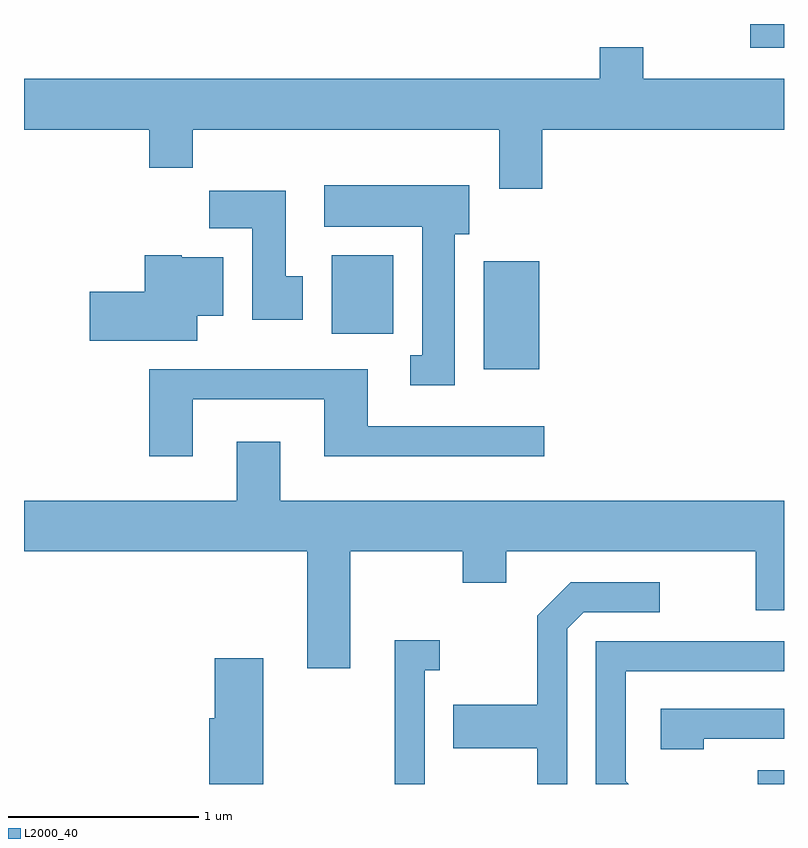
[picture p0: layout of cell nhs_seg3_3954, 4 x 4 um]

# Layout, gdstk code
import gdstk
lib = gdstk.Library(unit=1e-6, precision=1e-09)
def R(c, l, rs):  # rectangles x0, y0, x1, y1
    for r in rs: c.add(gdstk.rectangle(r[:2], r[2:], *l))
def P(c, l, *ps):  # polygons
    for p in ps: c.add(gdstk.Polygon(p, *l))
L2000_40 = (2000, 40)

nhs_seg3_3954 = lib.new_cell('nhs_seg3_3954')
R(nhs_seg3_3954, L2000_40, [(305.473,1135.892,305.611,1135.964), (304.031,1138.076,304.324,1138.644), (303.231,1138.261,303.554,1138.674), (305.433,1139.766,305.611,1139.892)])
P(nhs_seg3_3954, L2000_40, [(304.339,1139.336),(305.611,1139.336),(305.611,1139.604),(304.869,1139.604),(304.869,1139.769),(304.641,1139.769),(304.641,1139.604),(301.611,1139.604),(301.611,1139.336),(302.271,1139.336),(302.271,1139.136),(302.499,1139.136),(302.499,1139.336),(304.111,1139.336),(304.111,1139.026),(304.339,1139.026)],
  [(303.879,1138.786),(303.954,1138.786),(303.954,1139.044),(303.191,1139.044),(303.191,1138.826),(303.706,1138.826),(303.706,1138.149),(303.643,1138.149),(303.643,1137.991),(303.879,1137.991)],
  [(303.079,1138.564),(302.989,1138.564),(302.989,1139.014),(302.586,1139.014),(302.586,1138.816),(302.811,1138.816),(302.811,1138.336),(303.079,1138.336)],
  [(302.524,1138.356),(302.659,1138.356),(302.659,1138.664),(302.44,1138.664),(302.44,1138.674),(302.246,1138.674),(302.246,1138.484),(301.956,1138.484),(301.956,1138.226),(302.524,1138.226)],
  [(302.499,1137.916),(303.191,1137.916),(303.191,1137.616),(304.348,1137.616),(304.348,1137.774),(303.419,1137.774),(303.419,1138.074),(302.271,1138.074),(302.271,1137.616),(302.499,1137.616)],
  [(303.329,1137.116),(303.921,1137.116),(303.921,1136.951),(304.149,1136.951),(304.149,1137.116),(305.461,1137.116),(305.461,1136.806),(305.611,1136.806),(305.611,1137.384),(302.959,1137.384),(302.959,1137.694),(302.731,1137.694),(302.731,1137.384),(301.611,1137.384),(301.611,1137.116),(303.101,1137.116),(303.101,1136.501),(303.329,1136.501)],
  [(304.469,1136.709),(304.557,1136.796),(304.958,1136.796),(304.958,1136.954),(304.489,1136.954),(304.311,1136.777),(304.311,1136.309),(303.871,1136.309),(303.871,1136.081),(304.311,1136.081),(304.311,1135.892),(304.469,1135.892)],
  [(303.719,1136.491),(303.798,1136.491),(303.798,1136.649),(303.561,1136.649),(303.561,1135.892),(303.719,1135.892)],
  [(304.779,1135.907),(304.779,1136.486),(305.611,1136.486),(305.611,1136.644),(304.621,1136.644),(304.621,1135.892),(304.794,1135.892)],
  [(302.869,1136.554),(302.616,1136.554),(302.616,1136.239),(302.586,1136.239),(302.586,1135.892),(302.869,1135.892)],
  [(305.189,1136.131),(305.611,1136.131),(305.611,1136.289),(304.961,1136.289),(304.961,1136.076),(305.189,1136.076)])

lib.write_gds('nhs_seg3_3954.gds')
